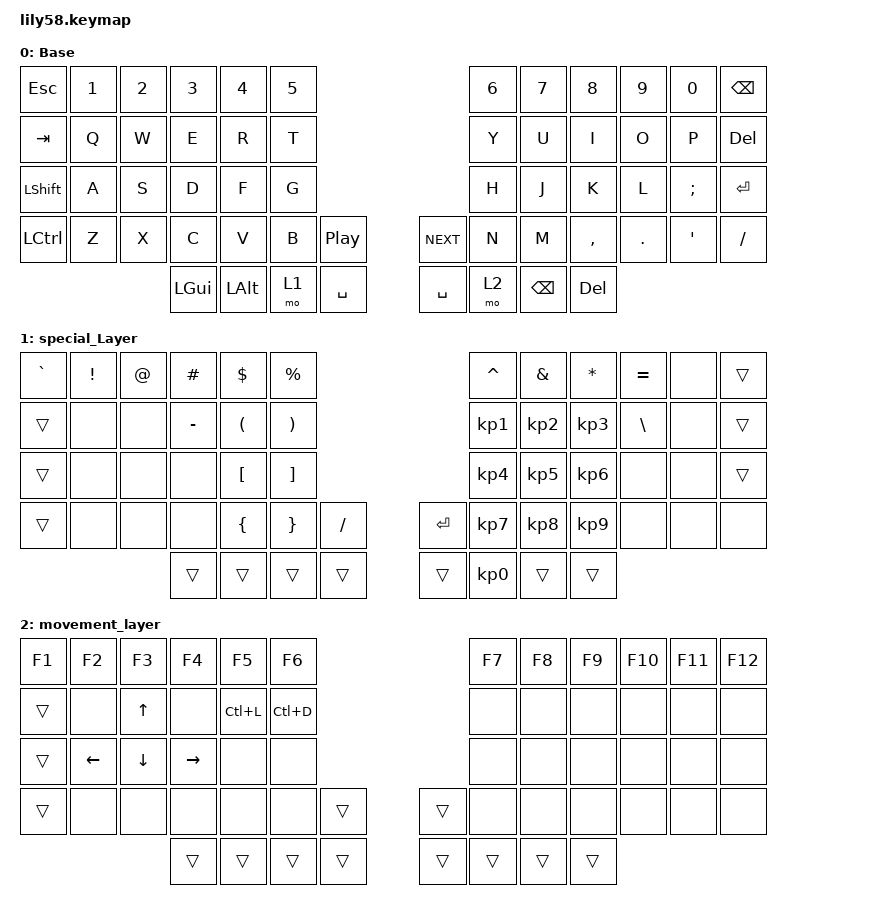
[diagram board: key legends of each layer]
/*
 * Copyright (c) 2020 The ZMK Contributors
 *
 * SPDX-License-Identifier: MIT
 */

#include <behaviors.dtsi>
#include <dt-bindings/zmk/keys.h>

/ {
    keymap {
        compatible = "zmk,keymap";

        default_layer {
            // ------------------------------------------------------------------------------------------------------------
            // |  ESC  |  1  |  2  |  3   |  4   |  5   |                   |  6   |  7    |  8    |  9   |   0   |   `   |
            // |  TAB  |  Q  |  W  |  E   |  R   |  T   |                   |  Y   |  U    |  I    |  O   |   P   |   -   |
            // |  CTRL |  A  |  S  |  D   |  F   |  G   |                   |  H   |  J    |  K    |  L   |   ;   |   '   |
            // | SHIFT |  Z  |  X  |  C   |  V   |  B   |   "["  |  |  "]"  |  N   |  M    |  ,    |  .   |   /   | SHIFT |
            //                     | ALT  | GUI  | LOWER|  SPACE |  | ENTER | RAISE| BSPC  | GUI   |

            display-name = "Base";
            bindings = <
&kp ESC    &kp N1  &kp N2  &kp N3    &kp N4        &kp N5                                  &kp N6  &kp N7    &kp N8     &kp N9   &kp N0    &kp BACKSPACE
&kp TAB    &kp Q   &kp W   &kp E     &kp R         &kp T                                   &kp Y   &kp U     &kp I      &kp O    &kp P     &kp DELETE
&kp LSHFT  &kp A   &kp S   &kp D     &kp F         &kp G                                   &kp H   &kp J     &kp K      &kp L    &kp SEMI  &kp ENTER
&kp LCTRL  &kp Z   &kp X   &kp C     &kp V         &kp B   &kp C_PLAY_PAUSE    &kp C_NEXT  &kp N   &kp M     &kp COMMA  &kp DOT  &kp SQT   &kp SLASH
                           &kp LGUI  &kp LEFT_ALT  &mo 1   &kp SPACE           &kp SPACE   &mo 2   &kp BSPC  &kp DEL
            >;
        };

        special_Layer {
            bindings = <
&kp GRAVE  &kp EXCLAMATION  &kp AT_SIGN  &kp POUND  &kp DOLLAR            &kp PERCENT                                  &kp CARET        &kp AMPERSAND    &kp ASTERISK     &kp EQUAL      &none  &trans
&trans     &none            &none        &kp MINUS  &kp LEFT_PARENTHESIS  &kp RIGHT_PARENTHESIS                        &kp KP_NUMBER_1  &kp KP_NUMBER_2  &kp KP_NUMBER_3  &kp BACKSLASH  &none  &trans
&trans     &none            &none        &none      &kp LBKT              &kp RBKT                                     &kp KP_NUMBER_4  &kp KP_NUMBER_5  &kp KP_NUMBER_6  &none          &none  &trans
&trans     &none            &none        &none      &kp LEFT_BRACE        &kp RIGHT_BRACE        &kp SLASH    &kp RET  &kp KP_NUMBER_7  &kp KP_NUMBER_8  &kp KP_NUMBER_9  &none          &none  &none
                                         &trans     &trans                &trans                 &trans       &trans   &kp KP_NUMBER_0  &trans           &trans
            >;
        };

        movement_layer {
            bindings = <
&kp F1  &kp F2    &kp F3    &kp F4     &kp F5     &kp F6                       &kp F7  &kp F8  &kp F9  &kp F10  &kp F11  &kp F12
&trans  &none     &kp UP    &none      &kp LC(L)  &kp LC(D)                    &none   &none   &none   &none    &none    &none
&trans  &kp LEFT  &kp DOWN  &kp RIGHT  &none      &none                        &none   &none   &none   &none    &none    &none
&trans  &none     &none     &none      &none      &none      &trans    &trans  &none   &none   &none   &none    &none    &none
                            &trans     &trans     &trans     &trans    &trans  &trans  &trans  &trans
            >;
        };
    };
};
